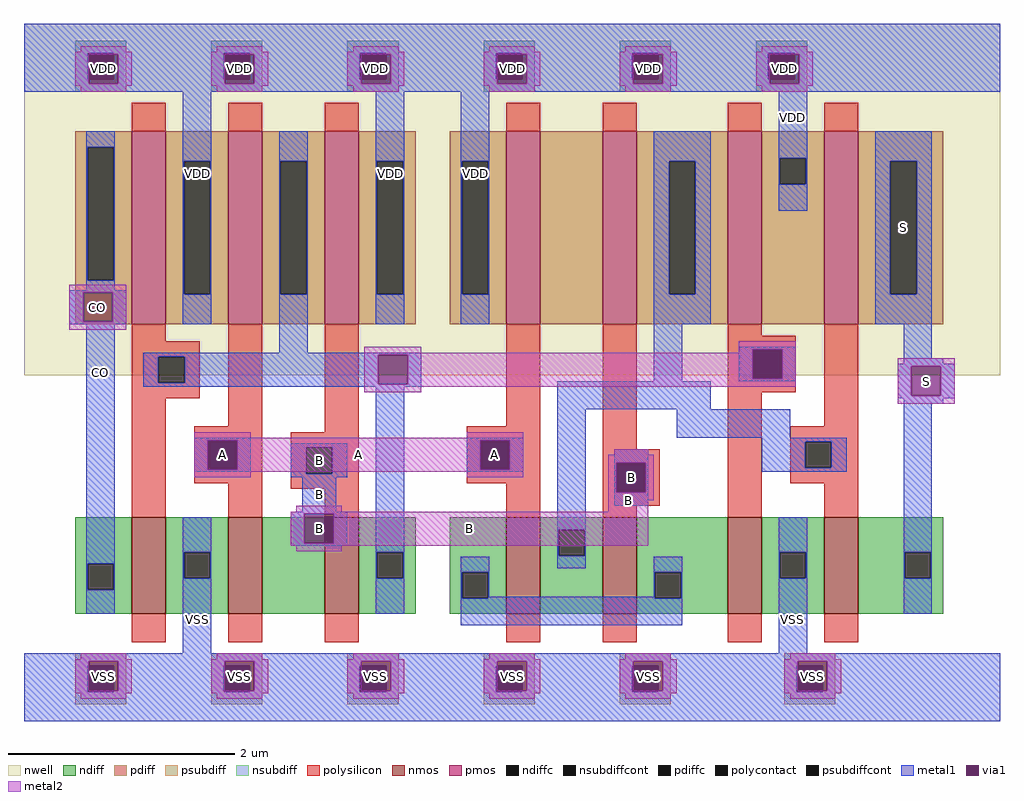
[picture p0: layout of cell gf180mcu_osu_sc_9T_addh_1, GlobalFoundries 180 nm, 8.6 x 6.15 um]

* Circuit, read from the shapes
.subckt gf180mcu_osu_sc_9T_addh_1 A S CO B VDD VSS
XM1 VSS n1 CO VSS nfet_03v3 w=0.85u l=0.3u
XM2 n2 A VSS VSS nfet_03v3 w=0.85u l=0.3u
XM3 n1 B n2 VSS nfet_03v3 w=0.85u l=0.3u
XM4 n3 A n4 VSS nfet_03v3 w=0.85u l=0.3u
XM5 n4 B n3 VSS nfet_03v3 w=0.85u l=0.3u
XM6 VSS n1 n4 VSS nfet_03v3 w=0.85u l=0.3u
XM7 S n3 VSS VSS nfet_03v3 w=0.85u l=0.3u
XM8 VDD n1 CO VDD pfet_03v3 w=1.7u l=0.3u
XM9 n1 A VDD VDD pfet_03v3 w=1.7u l=0.3u
XM10 VDD B n1 VDD pfet_03v3 w=1.7u l=0.3u
XM11 n5 A VDD VDD pfet_03v3 w=1.7u l=0.3u
XM12 n3 B n5 VDD pfet_03v3 w=1.7u l=0.3u
XM13 VDD n1 n3 VDD pfet_03v3 w=1.7u l=0.3u
XM14 S n3 VDD VDD pfet_03v3 w=1.7u l=0.3u
.ends

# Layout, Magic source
magic
tech gf180mcuB
magscale 1 10
<< nwell >>
rect 0 610 1720 1230
<< nmos >>
rect 190 190 250 360
rect 360 190 420 360
rect 530 190 590 360
rect 850 190 910 360
rect 1020 190 1080 360
rect 1240 190 1300 360
rect 1410 190 1470 360
<< pmos >>
rect 190 700 250 1040
rect 360 700 420 1040
rect 530 700 590 1040
rect 850 700 910 1040
rect 1020 700 1080 1040
rect 1240 700 1300 1040
rect 1410 700 1470 1040
<< ndiff >>
rect 90 278 190 360
rect 90 232 112 278
rect 158 232 190 278
rect 90 190 190 232
rect 250 298 360 360
rect 250 252 282 298
rect 328 252 360 298
rect 250 190 360 252
rect 420 190 530 360
rect 590 298 690 360
rect 590 252 622 298
rect 668 252 690 298
rect 590 190 690 252
rect 750 263 850 360
rect 750 217 772 263
rect 818 217 850 263
rect 750 190 850 217
rect 910 338 1020 360
rect 910 292 942 338
rect 988 292 1020 338
rect 910 190 1020 292
rect 1080 263 1240 360
rect 1080 217 1112 263
rect 1158 217 1240 263
rect 1080 190 1240 217
rect 1300 298 1410 360
rect 1300 252 1332 298
rect 1378 252 1410 298
rect 1300 190 1410 252
rect 1470 298 1620 360
rect 1470 252 1552 298
rect 1598 252 1620 298
rect 1470 190 1620 252
<< pdiff >>
rect 90 1012 190 1040
rect 90 778 112 1012
rect 158 778 190 1012
rect 90 700 190 778
rect 250 987 360 1040
rect 250 753 282 987
rect 328 753 360 987
rect 250 700 360 753
rect 420 987 530 1040
rect 420 753 452 987
rect 498 753 530 987
rect 420 700 530 753
rect 590 987 690 1040
rect 590 753 622 987
rect 668 753 690 987
rect 590 700 690 753
rect 750 987 850 1040
rect 750 753 772 987
rect 818 753 850 987
rect 750 700 850 753
rect 910 700 1020 1040
rect 1080 987 1240 1040
rect 1080 753 1137 987
rect 1183 753 1240 987
rect 1080 700 1240 753
rect 1300 993 1410 1040
rect 1300 947 1332 993
rect 1378 947 1410 993
rect 1300 700 1410 947
rect 1470 987 1620 1040
rect 1470 753 1527 987
rect 1573 753 1620 987
rect 1470 700 1620 753
<< ndiffc >>
rect 112 232 158 278
rect 282 252 328 298
rect 622 252 668 298
rect 772 217 818 263
rect 942 292 988 338
rect 1112 217 1158 263
rect 1332 252 1378 298
rect 1552 252 1598 298
<< pdiffc >>
rect 112 778 158 1012
rect 282 753 328 987
rect 452 753 498 987
rect 622 753 668 987
rect 772 753 818 987
rect 1137 753 1183 987
rect 1332 947 1378 993
rect 1527 753 1573 987
<< psubdiff >>
rect 90 98 180 120
rect 90 52 112 98
rect 158 52 180 98
rect 90 30 180 52
rect 330 98 420 120
rect 330 52 352 98
rect 398 52 420 98
rect 330 30 420 52
rect 570 98 660 120
rect 570 52 592 98
rect 638 52 660 98
rect 570 30 660 52
rect 810 98 900 120
rect 810 52 832 98
rect 878 52 900 98
rect 810 30 900 52
rect 1050 98 1140 120
rect 1050 52 1072 98
rect 1118 52 1140 98
rect 1050 30 1140 52
rect 1340 98 1430 120
rect 1340 52 1362 98
rect 1408 52 1430 98
rect 1340 30 1430 52
<< nsubdiff >>
rect 90 1178 180 1200
rect 90 1132 112 1178
rect 158 1132 180 1178
rect 90 1110 180 1132
rect 330 1178 420 1200
rect 330 1132 352 1178
rect 398 1132 420 1178
rect 330 1110 420 1132
rect 570 1178 660 1200
rect 570 1132 592 1178
rect 638 1132 660 1178
rect 570 1110 660 1132
rect 810 1178 900 1200
rect 810 1132 832 1178
rect 878 1132 900 1178
rect 810 1110 900 1132
rect 1050 1178 1140 1200
rect 1050 1132 1072 1178
rect 1118 1132 1140 1178
rect 1050 1110 1140 1132
rect 1290 1178 1380 1200
rect 1290 1132 1312 1178
rect 1358 1132 1380 1178
rect 1290 1110 1380 1132
<< psubdiffcont >>
rect 112 52 158 98
rect 352 52 398 98
rect 592 52 638 98
rect 832 52 878 98
rect 1072 52 1118 98
rect 1362 52 1408 98
<< nsubdiffcont >>
rect 112 1132 158 1178
rect 352 1132 398 1178
rect 592 1132 638 1178
rect 832 1132 878 1178
rect 1072 1132 1118 1178
rect 1312 1132 1358 1178
<< polysilicon >>
rect 190 1040 250 1090
rect 360 1040 420 1090
rect 530 1040 590 1090
rect 850 1040 910 1090
rect 1020 1040 1080 1090
rect 1240 1040 1300 1090
rect 1410 1040 1470 1090
rect 190 670 250 700
rect 190 643 310 670
rect 190 597 237 643
rect 283 597 310 643
rect 190 570 310 597
rect 190 360 250 570
rect 360 520 420 700
rect 300 493 420 520
rect 530 510 590 700
rect 850 520 910 700
rect 300 447 327 493
rect 373 447 420 493
rect 300 420 420 447
rect 360 360 420 420
rect 470 483 590 510
rect 470 437 497 483
rect 543 437 590 483
rect 470 410 590 437
rect 780 493 910 520
rect 780 447 807 493
rect 853 447 910 493
rect 780 420 910 447
rect 530 360 590 410
rect 850 360 910 420
rect 1020 480 1080 700
rect 1240 680 1300 700
rect 1240 653 1360 680
rect 1240 607 1287 653
rect 1333 607 1360 653
rect 1240 580 1360 607
rect 1020 453 1120 480
rect 1020 407 1047 453
rect 1093 407 1120 453
rect 1020 380 1120 407
rect 1020 360 1080 380
rect 1240 360 1300 580
rect 1410 520 1470 700
rect 1350 493 1470 520
rect 1350 447 1377 493
rect 1423 447 1470 493
rect 1350 420 1470 447
rect 1410 360 1470 420
rect 190 140 250 190
rect 360 140 420 190
rect 530 140 590 190
rect 850 140 910 190
rect 1020 140 1080 190
rect 1240 140 1300 190
rect 1410 140 1470 190
<< polycontact >>
rect 237 597 283 643
rect 327 447 373 493
rect 497 437 543 483
rect 807 447 853 493
rect 1287 607 1333 653
rect 1047 407 1093 453
rect 1377 447 1423 493
<< metal1 >>
rect 0 1178 1720 1230
rect 0 1132 112 1178
rect 158 1176 352 1178
rect 398 1176 592 1178
rect 638 1176 832 1178
rect 878 1176 1072 1178
rect 1118 1176 1312 1178
rect 1358 1176 1720 1178
rect 166 1132 352 1176
rect 406 1132 592 1176
rect 646 1132 832 1176
rect 886 1132 1072 1176
rect 1126 1132 1312 1176
rect 0 1124 114 1132
rect 166 1124 354 1132
rect 406 1124 594 1132
rect 646 1124 834 1132
rect 886 1124 1074 1132
rect 1126 1124 1314 1132
rect 1366 1124 1720 1176
rect 0 1110 1720 1124
rect 110 1012 160 1040
rect 110 778 112 1012
rect 158 778 160 1012
rect 110 760 160 778
rect 280 987 330 1110
rect 80 756 180 760
rect 80 704 104 756
rect 156 704 180 756
rect 80 700 180 704
rect 280 753 282 987
rect 328 753 330 987
rect 280 700 330 753
rect 450 987 500 1040
rect 450 753 452 987
rect 498 753 500 987
rect 110 278 160 700
rect 450 650 500 753
rect 620 987 670 1110
rect 620 753 622 987
rect 668 753 670 987
rect 620 700 670 753
rect 770 987 820 1110
rect 770 753 772 987
rect 818 753 820 987
rect 770 700 820 753
rect 1110 987 1210 1040
rect 1110 753 1137 987
rect 1183 753 1210 987
rect 1330 993 1380 1110
rect 1330 947 1332 993
rect 1378 947 1380 993
rect 1330 900 1380 947
rect 1500 987 1600 1040
rect 1110 700 1210 753
rect 1500 753 1527 987
rect 1573 753 1600 987
rect 1500 700 1600 753
rect 210 646 700 650
rect 210 643 624 646
rect 210 597 237 643
rect 283 597 624 643
rect 210 594 624 597
rect 676 594 700 646
rect 1110 600 1160 700
rect 1260 656 1360 660
rect 1260 604 1284 656
rect 1336 604 1360 656
rect 1550 640 1600 700
rect 1550 630 1620 640
rect 1260 600 1360 604
rect 1540 626 1640 630
rect 210 590 700 594
rect 300 496 400 500
rect 300 444 324 496
rect 376 444 400 496
rect 300 440 400 444
rect 470 483 570 490
rect 470 437 497 483
rect 543 437 570 483
rect 470 430 570 437
rect 490 370 550 430
rect 470 366 570 370
rect 110 232 112 278
rect 158 232 160 278
rect 110 190 160 232
rect 280 298 330 360
rect 470 314 494 366
rect 546 314 570 366
rect 470 310 570 314
rect 280 252 282 298
rect 328 252 330 298
rect 280 120 330 252
rect 620 298 670 590
rect 940 550 1210 600
rect 1540 574 1564 626
rect 1616 574 1640 626
rect 1540 570 1640 574
rect 1550 560 1620 570
rect 780 496 880 500
rect 780 444 804 496
rect 856 444 880 496
rect 780 440 880 444
rect 620 252 622 298
rect 668 252 670 298
rect 940 338 990 550
rect 1150 500 1350 550
rect 1300 493 1450 500
rect 1040 456 1100 480
rect 1040 404 1044 456
rect 1096 404 1100 456
rect 1300 447 1377 493
rect 1423 447 1450 493
rect 1300 440 1450 447
rect 1040 380 1100 404
rect 940 292 942 338
rect 988 292 990 338
rect 620 190 670 252
rect 770 263 820 290
rect 940 270 990 292
rect 1330 298 1380 360
rect 770 217 772 263
rect 818 220 820 263
rect 1110 263 1160 290
rect 1110 220 1112 263
rect 818 217 1112 220
rect 1158 217 1160 263
rect 770 170 1160 217
rect 1330 252 1332 298
rect 1378 252 1380 298
rect 1330 120 1380 252
rect 1550 298 1600 560
rect 1550 252 1552 298
rect 1598 252 1600 298
rect 1550 190 1600 252
rect 0 106 1720 120
rect 0 98 114 106
rect 166 98 354 106
rect 406 98 594 106
rect 646 98 834 106
rect 886 98 1074 106
rect 1126 98 1364 106
rect 0 52 112 98
rect 166 54 352 98
rect 406 54 592 98
rect 646 54 832 98
rect 886 54 1072 98
rect 1126 54 1362 98
rect 1416 54 1720 106
rect 158 52 352 54
rect 398 52 592 54
rect 638 52 832 54
rect 878 52 1072 54
rect 1118 52 1362 54
rect 1408 52 1720 54
rect 0 0 1720 52
<< via1 >>
rect 114 1132 158 1176
rect 158 1132 166 1176
rect 354 1132 398 1176
rect 398 1132 406 1176
rect 594 1132 638 1176
rect 638 1132 646 1176
rect 834 1132 878 1176
rect 878 1132 886 1176
rect 1074 1132 1118 1176
rect 1118 1132 1126 1176
rect 1314 1132 1358 1176
rect 1358 1132 1366 1176
rect 114 1124 166 1132
rect 354 1124 406 1132
rect 594 1124 646 1132
rect 834 1124 886 1132
rect 1074 1124 1126 1132
rect 1314 1124 1366 1132
rect 104 704 156 756
rect 624 594 676 646
rect 1284 653 1336 656
rect 1284 607 1287 653
rect 1287 607 1333 653
rect 1333 607 1336 653
rect 1284 604 1336 607
rect 324 493 376 496
rect 324 447 327 493
rect 327 447 373 493
rect 373 447 376 493
rect 324 444 376 447
rect 494 314 546 366
rect 1564 574 1616 626
rect 804 493 856 496
rect 804 447 807 493
rect 807 447 853 493
rect 853 447 856 493
rect 804 444 856 447
rect 1044 453 1096 456
rect 1044 407 1047 453
rect 1047 407 1093 453
rect 1093 407 1096 453
rect 1044 404 1096 407
rect 114 98 166 106
rect 354 98 406 106
rect 594 98 646 106
rect 834 98 886 106
rect 1074 98 1126 106
rect 1364 98 1416 106
rect 114 54 158 98
rect 158 54 166 98
rect 354 54 398 98
rect 398 54 406 98
rect 594 54 638 98
rect 638 54 646 98
rect 834 54 878 98
rect 878 54 886 98
rect 1074 54 1118 98
rect 1118 54 1126 98
rect 1364 54 1408 98
rect 1408 54 1416 98
<< metal2 >>
rect 100 1180 180 1190
rect 340 1180 420 1190
rect 580 1180 660 1190
rect 820 1180 900 1190
rect 1060 1180 1140 1190
rect 1300 1180 1380 1190
rect 90 1176 190 1180
rect 90 1124 114 1176
rect 166 1124 190 1176
rect 90 1120 190 1124
rect 330 1176 430 1180
rect 330 1124 354 1176
rect 406 1124 430 1176
rect 330 1120 430 1124
rect 570 1176 670 1180
rect 570 1124 594 1176
rect 646 1124 670 1176
rect 570 1120 670 1124
rect 810 1176 910 1180
rect 810 1124 834 1176
rect 886 1124 910 1176
rect 810 1120 910 1124
rect 1050 1176 1150 1180
rect 1050 1124 1074 1176
rect 1126 1124 1150 1176
rect 1050 1120 1150 1124
rect 1290 1176 1390 1180
rect 1290 1124 1314 1176
rect 1366 1124 1390 1176
rect 1290 1120 1390 1124
rect 100 1110 180 1120
rect 340 1110 420 1120
rect 580 1110 660 1120
rect 820 1110 900 1120
rect 1060 1110 1140 1120
rect 1300 1110 1380 1120
rect 80 756 180 770
rect 80 704 104 756
rect 156 704 180 756
rect 80 690 180 704
rect 600 650 700 660
rect 1260 656 1360 670
rect 1260 650 1284 656
rect 600 646 1284 650
rect 600 594 624 646
rect 676 604 1284 646
rect 1336 604 1360 656
rect 676 594 1360 604
rect 600 590 1360 594
rect 1540 626 1640 640
rect 600 580 700 590
rect 1540 574 1564 626
rect 1616 574 1640 626
rect 1540 560 1640 574
rect 300 500 400 510
rect 780 500 880 510
rect 300 496 880 500
rect 300 444 324 496
rect 376 444 804 496
rect 856 444 880 496
rect 1040 470 1100 480
rect 300 440 880 444
rect 300 430 400 440
rect 780 430 880 440
rect 1030 456 1110 470
rect 1030 404 1044 456
rect 1096 404 1110 456
rect 1030 390 1110 404
rect 480 370 560 380
rect 1030 370 1100 390
rect 470 366 1100 370
rect 470 314 494 366
rect 546 314 1100 366
rect 470 310 1100 314
rect 480 300 560 310
rect 100 110 180 120
rect 340 110 420 120
rect 580 110 660 120
rect 820 110 900 120
rect 1060 110 1140 120
rect 1350 110 1430 120
rect 90 106 190 110
rect 90 54 114 106
rect 166 54 190 106
rect 90 50 190 54
rect 330 106 430 110
rect 330 54 354 106
rect 406 54 430 106
rect 330 50 430 54
rect 570 106 670 110
rect 570 54 594 106
rect 646 54 670 106
rect 570 50 670 54
rect 810 106 910 110
rect 810 54 834 106
rect 886 54 910 106
rect 810 50 910 54
rect 1050 106 1150 110
rect 1050 54 1074 106
rect 1126 54 1150 106
rect 1050 50 1150 54
rect 1340 106 1440 110
rect 1340 54 1364 106
rect 1416 54 1440 106
rect 1340 50 1440 54
rect 100 40 180 50
rect 340 40 420 50
rect 580 40 660 50
rect 820 40 900 50
rect 1060 40 1140 50
rect 1350 40 1430 50
<< labels >>
rlabel metal2 s 100 1110 180 1190 4 VDD
port 10 nsew power bidirectional abutment
rlabel metal2 s 100 40 180 120 4 VSS
port 11 nsew ground bidirectional
rlabel metal2 s 300 430 400 510 4 A
port 1 nsew signal input
rlabel metal2 s 1540 560 1640 640 4 S
port 2 nsew signal output
rlabel metal2 s 80 690 180 770 4 CO
port 3 nsew signal output
rlabel metal2 s 480 300 560 380 4 B
port 4 nsew signal input
rlabel metal2 s 300 440 880 500 1 A
port 1 nsew signal input
rlabel metal2 s 780 430 880 510 1 A
port 1 nsew signal input
rlabel metal1 s 300 440 400 500 1 A
port 1 nsew signal input
rlabel metal1 s 780 440 880 500 1 A
port 1 nsew signal input
rlabel metal2 s 470 310 1100 370 1 B
port 4 nsew signal input
rlabel metal2 s 1030 310 1100 470 1 B
port 4 nsew signal input
rlabel metal2 s 1040 310 1100 480 1 B
port 4 nsew signal input
rlabel metal2 s 1030 390 1110 470 1 B
port 4 nsew signal input
rlabel metal1 s 490 310 550 490 1 B
port 4 nsew signal input
rlabel metal1 s 470 310 570 370 1 B
port 4 nsew signal input
rlabel metal1 s 470 430 570 490 1 B
port 4 nsew signal input
rlabel metal1 s 1040 380 1100 480 1 B
port 4 nsew signal input
rlabel metal1 s 110 190 160 1040 1 CO
port 3 nsew signal output
rlabel metal1 s 80 700 180 760 1 CO
port 3 nsew signal output
rlabel metal1 s 1550 190 1600 1040 1 S
port 2 nsew signal output
rlabel metal1 s 1500 700 1600 1040 1 S
port 2 nsew signal output
rlabel metal1 s 1550 560 1620 640 1 S
port 2 nsew signal output
rlabel metal1 s 1540 570 1640 630 1 S
port 2 nsew signal output
rlabel metal2 s 90 1120 190 1180 1 VDD
port 10 nsew power bidirectional abutment
rlabel metal2 s 340 1110 420 1190 1 VDD
port 10 nsew power bidirectional abutment
rlabel metal2 s 330 1120 430 1180 1 VDD
port 10 nsew power bidirectional abutment
rlabel metal2 s 580 1110 660 1190 1 VDD
port 10 nsew power bidirectional abutment
rlabel metal2 s 570 1120 670 1180 1 VDD
port 10 nsew power bidirectional abutment
rlabel metal2 s 820 1110 900 1190 1 VDD
port 10 nsew power bidirectional abutment
rlabel metal2 s 810 1120 910 1180 1 VDD
port 10 nsew power bidirectional abutment
rlabel metal2 s 1060 1110 1140 1190 1 VDD
port 10 nsew power bidirectional abutment
rlabel metal2 s 1050 1120 1150 1180 1 VDD
port 10 nsew power bidirectional abutment
rlabel metal2 s 1300 1110 1380 1190 1 VDD
port 10 nsew power bidirectional abutment
rlabel metal2 s 1290 1120 1390 1180 1 VDD
port 10 nsew power bidirectional abutment
rlabel metal1 s 280 700 330 1230 1 VDD
port 10 nsew power bidirectional abutment
rlabel metal1 s 620 700 670 1230 1 VDD
port 10 nsew power bidirectional abutment
rlabel metal1 s 770 700 820 1230 1 VDD
port 10 nsew power bidirectional abutment
rlabel metal1 s 1330 900 1380 1230 1 VDD
port 10 nsew power bidirectional abutment
rlabel metal1 s 0 1110 1720 1230 1 VDD
port 10 nsew power bidirectional abutment
rlabel metal2 s 90 50 190 110 1 VSS
port 11 nsew ground bidirectional
rlabel metal2 s 340 40 420 120 1 VSS
port 11 nsew ground bidirectional
rlabel metal2 s 330 50 430 110 1 VSS
port 11 nsew ground bidirectional
rlabel metal2 s 580 40 660 120 1 VSS
port 11 nsew ground bidirectional
rlabel metal2 s 570 50 670 110 1 VSS
port 11 nsew ground bidirectional
rlabel metal2 s 820 40 900 120 1 VSS
port 11 nsew ground bidirectional
rlabel metal2 s 810 50 910 110 1 VSS
port 11 nsew ground bidirectional
rlabel metal2 s 1060 40 1140 120 1 VSS
port 11 nsew ground bidirectional
rlabel metal2 s 1050 50 1150 110 1 VSS
port 11 nsew ground bidirectional
rlabel metal2 s 1350 40 1430 120 1 VSS
port 11 nsew ground bidirectional
rlabel metal2 s 1340 50 1440 110 1 VSS
port 11 nsew ground bidirectional
rlabel metal1 s 280 0 330 360 1 VSS
port 11 nsew ground bidirectional
rlabel metal1 s 1330 0 1380 360 1 VSS
port 11 nsew ground bidirectional
rlabel metal1 s 0 0 1720 120 1 VSS
port 11 nsew ground bidirectional
<< properties >>
string FIXED_BBOX 0 0 1720 1230
string GDS_END 40702
string GDS_FILE $PDKPATH/libs.ref/gf180mcu_osu_sc_9T/gds/gf180mcu_osu_sc_9T.gds
string GDS_START 26130
string LEFclass CORE
string LEFsite GF018hv5v_mcu_sc7
string LEFsymmetry X Y
<< end >>
